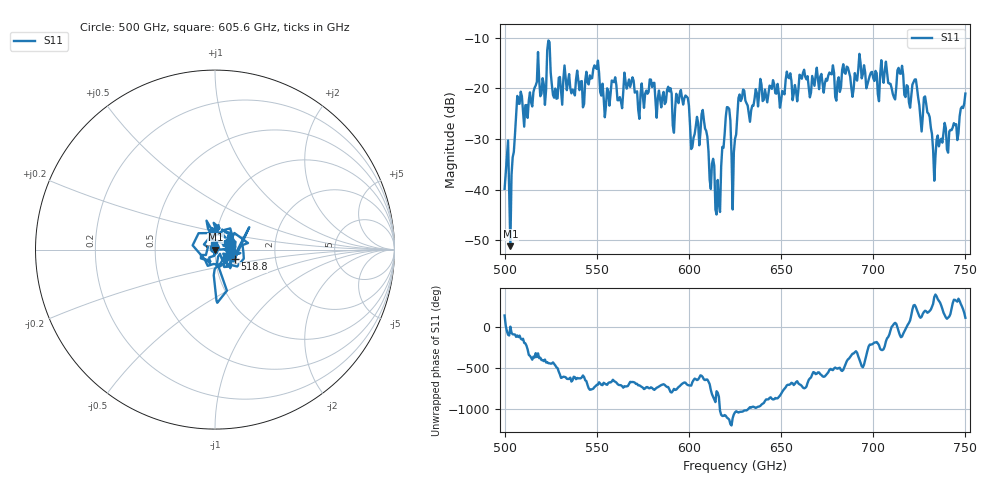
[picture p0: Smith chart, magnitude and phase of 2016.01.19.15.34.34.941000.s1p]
!Created with skrf (http://scikit-rf.org).
# GHz S RI R 50.0
!freq ReS11 ImS11
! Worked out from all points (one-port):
!   401 points, 500 GHz to 750 GHz, reference 50 ohm
!   lowest |S11| = -51.2 dB at 503.1 GHz (marker M1), VSWR 1.01, Z = 50.3 - j0.00884 ohm
!   |S11| at or under -10 dB: start of sweep to end of sweep
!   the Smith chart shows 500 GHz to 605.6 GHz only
!   S11 on the Smith chart (normalised r, x): 500 GHz: 0.99, +0.01; 518.8 GHz: 1.24, -0.13; 605.6 GHz: 0.99, +0.05
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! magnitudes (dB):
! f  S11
! 500 GHz  -39.9
! 503.1 GHz  -51.2
! 507.5 GHz  -23.0
! 518.8 GHz  -18.3
! 524.4 GHz  -10.9
! 527.5 GHz  -20.1
! 531.2 GHz  -23.2
! 549.4 GHz  -15.9
! 553.8 GHz  -22.0
! 562.5 GHz  -21.7
! 593.8 GHz  -22.2
! 598.8 GHz  -21.6
! 601.9 GHz  -31.6
! 605.6 GHz  -31.3
! 608.8 GHz  -27.9
! 615.6 GHz  -38.1
! 620.6 GHz  -23.7
! 625 GHz  -30.0
! 628.8 GHz  -22.0
! 656.2 GHz  -22.4
! 687.5 GHz  -17.7
! 705.6 GHz  -18.9
! 711.2 GHz  -21.8
! 714.4 GHz  -17.1
! 718.8 GHz  -19.6
! 728.8 GHz  -23.1
! 733.8 GHz  -33.5
! 750 GHz  -21.0
